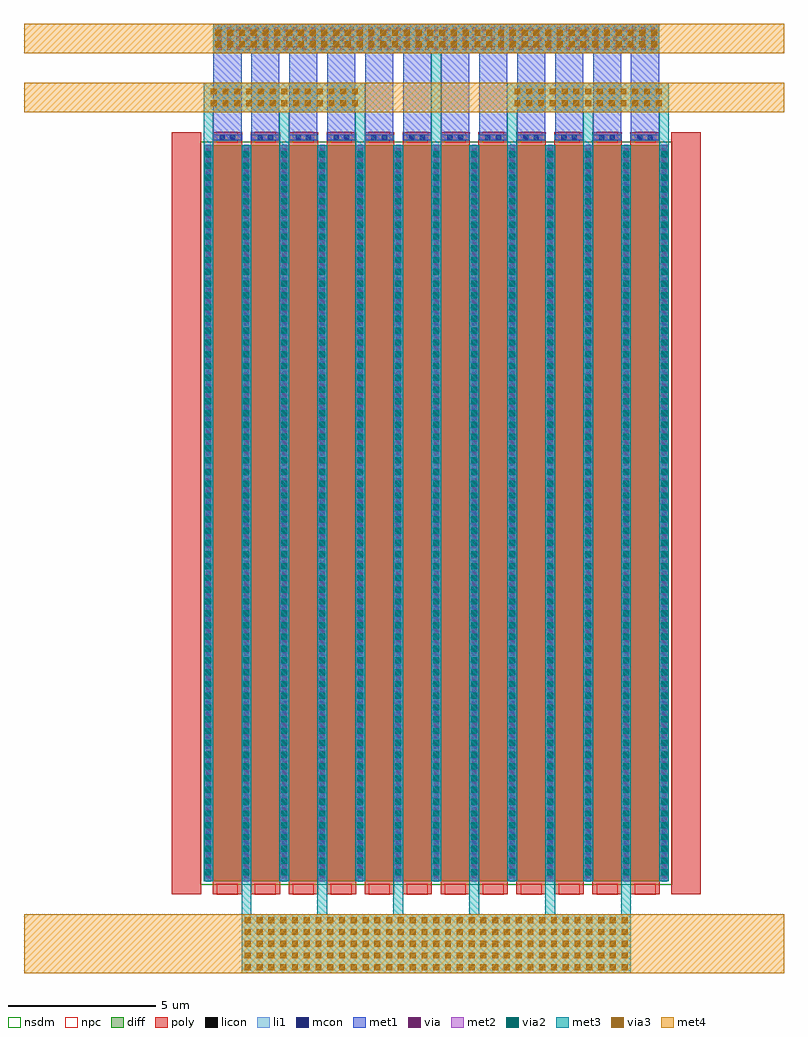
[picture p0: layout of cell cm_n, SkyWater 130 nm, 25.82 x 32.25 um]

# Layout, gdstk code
from math import pi, radians
import gdstk
lib = gdstk.Library(unit=1e-6, precision=1e-09)
def R(c, l, rs):  # rectangles x0, y0, x1, y1
    for r in rs: c.add(gdstk.rectangle(r[:2], r[2:], *l))
def A(c, l, x, y, w, h, nx, ny, dx, dy):  # array of equal rectangles
    R(c, l, [(x+i*dx, y+j*dy, x+i*dx+w, y+j*dy+h) for i in range(nx) for j in range(ny)])
diff = (65, 20)
poly = (66, 20)
licon = (66, 44)
li1 = (67, 20)
mcon = (67, 44)
met1 = (68, 20)
via = (68, 44)
met2 = (69, 20)
via2 = (69, 44)
met3 = (70, 20)
via3 = (70, 44)
met4 = (71, 20)
nsdm = (93, 44)
npc = (95, 20)

sky130_fd_pr__nfet_01v8_ = lib.new_cell('sky130_fd_pr__nfet_01v8_459YUV')
R(sky130_fd_pr__nfet_01v8_, diff, [(-7.885,-12.5,7.885,12.5)])
A(sky130_fd_pr__nfet_01v8_, poly, -7.595, -12.94, 1, 25.88, 12, 1, 1.29, 0)
A(sky130_fd_pr__nfet_01v8_, licon, -7.825, -12.325, 0.17, 0.17, 13, 73, 1.29, 0.34)
R(sky130_fd_pr__nfet_01v8_, licon, [(-7.35,12.69,-7.18,12.86), (-7.01,12.69,-6.84,12.86), (-6.06,12.69,-5.89,12.86), (-5.72,12.69,-5.55,12.86), (-4.77,12.69,-4.6,12.86), (-4.43,12.69,-4.26,12.86), (-3.48,12.69,-3.31,12.86), (-3.14,12.69,-2.97,12.86), (-2.19,12.69,-2.02,12.86), (-1.85,12.69,-1.68,12.86), (-0.9,12.69,-0.73,12.86), (-0.56,12.69,-0.39,12.86), (0.39,12.69,0.56,12.86), (0.73,12.69,0.9,12.86), (1.68,12.69,1.85,12.86), (2.02,12.69,2.19,12.86), (2.97,12.69,3.14,12.86), (3.31,12.69,3.48,12.86), (4.26,12.69,4.43,12.86), (4.6,12.69,4.77,12.86), (5.55,12.69,5.72,12.86), (5.89,12.69,6.06,12.86), (6.84,12.69,7.01,12.86), (7.18,12.69,7.35,12.86)])
A(sky130_fd_pr__nfet_01v8_, li1, -7.825, -12.52, 0.17, 25.04, 13, 1, 1.29, 0)
A(sky130_fd_pr__nfet_01v8_, li1, -7.595, 12.69, 1, 0.17, 12, 1, 1.29, 0)
A(sky130_fd_pr__nfet_01v8_, mcon, -7.825, -12.325, 0.17, 0.17, 13, 69, 1.29, 0.36)
R(sky130_fd_pr__nfet_01v8_, mcon, [(-7.36,12.69,-7.19,12.86), (-7,12.69,-6.83,12.86), (-6.07,12.69,-5.9,12.86), (-5.71,12.69,-5.54,12.86), (-4.78,12.69,-4.61,12.86), (-4.42,12.69,-4.25,12.86), (-3.49,12.69,-3.32,12.86), (-3.13,12.69,-2.96,12.86), (-2.2,12.69,-2.03,12.86), (-1.84,12.69,-1.67,12.86), (-0.91,12.69,-0.74,12.86), (-0.55,12.69,-0.38,12.86), (0.38,12.69,0.55,12.86), (0.74,12.69,0.91,12.86), (1.67,12.69,1.84,12.86), (2.03,12.69,2.2,12.86), (2.96,12.69,3.13,12.86), (3.32,12.69,3.49,12.86), (4.25,12.69,4.42,12.86), (4.61,12.69,4.78,12.86), (5.54,12.69,5.71,12.86), (5.9,12.69,6.07,12.86), (6.83,12.69,7,12.86), (7.19,12.69,7.36,12.86)])
A(sky130_fd_pr__nfet_01v8_, met1, -7.855, -12.5, 0.23, 25, 13, 1, 1.29, 0)
A(sky130_fd_pr__nfet_01v8_, met1, -7.575, 12.66, 0.96, 3.964, 12, 1, 1.29, 0)
A(sky130_fd_pr__nfet_01v8_, met1, -6.285, 12.66, 0.96, 0.23, 11, 1, 1.29, 0)
R(sky130_fd_pr__nfet_01v8_, nsdm, [(-8.01,-12.625,8.01,12.625)])
A(sky130_fd_pr__nfet_01v8_, npc, -7.45, -12.96, 0.71, 0.37, 12, 2, 1.29, 25.55)

via_new = lib.new_cell('via_new')
A(via_new, via, 0.105, -0.075, 0.15, 0.15, 78, 1, 0.32, 0)
A(via_new, via2, 0.2, -0.1, 0.2, 0.2, 62, 1, 0.4, 0)
via_new.add(gdstk.FlexPath([(0,0),(25,0)], 0.33, ends="flush", simple_path=True, layer=68, datatype=20))  # met1
via_new.add(gdstk.FlexPath([(0,0),(25,0)], 0.33, ends="flush", simple_path=True, layer=70, datatype=20))  # met3
via_new.add(gdstk.FlexPath([(0,0),(25,0)], 0.33, ends="flush", simple_path=True, layer=69, datatype=20))  # met2

via_new_2 = lib.new_cell('via_new$2')
A(via_new_2, via3, 0.1, -6.5, 0.2, 0.2, 5, 33, 0.4, 0.4)
via_new_2.add(gdstk.FlexPath([(0,0),(2,0)], 13.23, ends="flush", simple_path=True, layer=71, datatype=20))  # met4
via_new_2.add(gdstk.FlexPath([(0,0),(2,0)], 13.23, ends="flush", simple_path=True, layer=70, datatype=20))  # met3

via_new_5 = lib.new_cell('via_new$5')
A(via_new_5, via, 0.105, -7.435, 0.15, 0.15, 3, 47, 0.32, 0.32)
A(via_new_5, via2, 0.2, -7.5, 0.2, 0.2, 1, 38, 0, 0.4)
A(via_new_5, via2, 0.6, -7.5, 0.2, 0.2, 1, 38, 0, 0.4)
A(via_new_5, via3, 0.2, -7.5, 0.2, 0.2, 1, 38, 0, 0.4)
A(via_new_5, via3, 0.6, -7.5, 0.2, 0.2, 1, 38, 0, 0.4)
via_new_5.add(gdstk.FlexPath([(0,0),(1,0)], 15.15, ends="flush", simple_path=True, layer=68, datatype=20))  # met1
via_new_5.add(gdstk.FlexPath([(0,0),(1,0)], 15.15, ends="flush", simple_path=True, layer=71, datatype=20))  # met4
via_new_5.add(gdstk.FlexPath([(0,0),(1,0)], 15.15, ends="flush", simple_path=True, layer=70, datatype=20))  # met3
via_new_5.add(gdstk.FlexPath([(0,0),(1,0)], 15.15, ends="flush", simple_path=True, layer=69, datatype=20))  # met2

via_new_3 = lib.new_cell('via_new$3')
A(via_new_3, via3, 0.2, -2.5, 0.2, 0.2, 1, 13, 0, 0.4)
A(via_new_3, via3, 0.6, -2.5, 0.2, 0.2, 1, 13, 0, 0.4)
via_new_3.add(gdstk.FlexPath([(0,0),(1,0)], 5.49, ends="flush", simple_path=True, layer=71, datatype=20))  # met4
via_new_3.add(gdstk.FlexPath([(0,0),(1,0)], 5.49, ends="flush", simple_path=True, layer=70, datatype=20))  # met3

cm_n = lib.new_cell('cm_n')
R(cm_n, poly, [(-1.1,0,-0.1,25.88), (15.87,0,16.87,25.88)])
A(cm_n, met3, 1.27, -2.685, 0.33, 3.125, 6, 1, 2.58, 0)
A(cm_n, met3, -0.02, 25.44, 0.33, 2.124, 3, 1, 2.58, 0)
A(cm_n, met3, 10.3, 25.44, 0.33, 2.124, 3, 1, 2.58, 0)
R(cm_n, met3, [(7.72,25.44,8.05,29.564)])
cm_n.add(gdstk.FlexPath([(-6.119,-1.685),(19.698,-1.685)], 2, ends="flush", simple_path=True, layer=71, datatype=20))  # met4
cm_n.add(gdstk.FlexPath([(-6.119,27.064),(19.698,27.064)], 1, ends="flush", simple_path=True, layer=71, datatype=20))  # met4
cm_n.add(gdstk.FlexPath([(-6.119,29.064),(19.698,29.064)], 1, ends="flush", simple_path=True, layer=71, datatype=20))  # met4
cm_n.add(gdstk.Reference(sky130_fd_pr__nfet_01v8_, (7.885,12.94)))
cm_n.add(gdstk.Reference(via_new, (0.145,25.44), rotation=3*pi/2))
cm_n.add(gdstk.Reference(via_new, (1.435,25.44), rotation=3*pi/2))
cm_n.add(gdstk.Reference(via_new, (2.725,25.44), rotation=3*pi/2))
cm_n.add(gdstk.Reference(via_new, (4.015,25.44), rotation=3*pi/2))
cm_n.add(gdstk.Reference(via_new, (5.305,25.44), rotation=3*pi/2))
cm_n.add(gdstk.Reference(via_new, (6.595,25.44), rotation=3*pi/2))
cm_n.add(gdstk.Reference(via_new, (7.885,25.44), rotation=3*pi/2))
cm_n.add(gdstk.Reference(via_new, (9.175,25.44), rotation=3*pi/2))
cm_n.add(gdstk.Reference(via_new, (10.465,25.44), rotation=3*pi/2))
cm_n.add(gdstk.Reference(via_new, (11.755,25.44), rotation=3*pi/2))
cm_n.add(gdstk.Reference(via_new, (13.045,25.44), rotation=3*pi/2))
cm_n.add(gdstk.Reference(via_new, (14.335,25.44), rotation=3*pi/2))
cm_n.add(gdstk.Reference(via_new, (15.625,25.44), rotation=3*pi/2))
cm_n.add(gdstk.Reference(via_new_2, (7.885,-0.685), rotation=3*pi/2))
cm_n.add(gdstk.Reference(via_new_5, (7.885,29.564), rotation=3*pi/2))
cm_n.add(gdstk.Reference(via_new_3, (2.725,27.564), rotation=3*pi/2))
cm_n.add(gdstk.Reference(via_new_3, (13.045,27.564), rotation=3*pi/2))
cm_n.add(gdstk.Label('DB', (-8.137,26.801), layer=69, texttype=44))
cm_n.add(gdstk.Label('DA', (-7.685,28.739), layer=69, texttype=44))
cm_n.add(gdstk.Label('S', (-8.266,-1.937), layer=69, texttype=44))

lib.write_gds('cm_n.gds')
